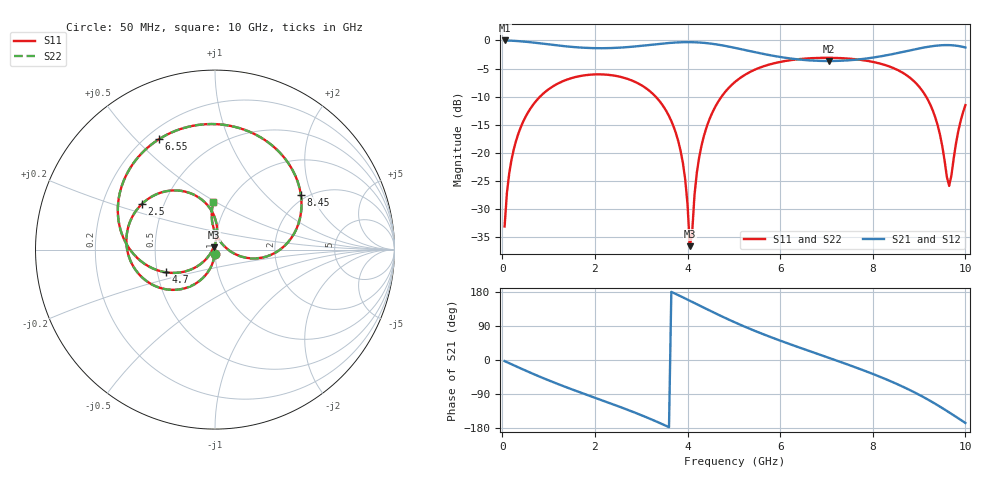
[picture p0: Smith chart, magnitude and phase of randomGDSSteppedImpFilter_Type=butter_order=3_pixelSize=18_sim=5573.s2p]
! freq	dB(S11)	phase(S11)	dB(S12)	phase(S12)
!  dB(S21)	phase(S21)	dB(S22)	phase(S22)
!S-par simulation data
#  GHz  S  DB  R 50
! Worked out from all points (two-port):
!   200 points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, 50 MHz to 10 GHz, reference 50 ohm
!   highest |S21| = -0.01 dB at 50 MHz (marker M1); lowest = -3.7 dB at 7.05 GHz (marker M2)
!   |S21| within 3 dB of the highest: start of sweep to 6.049 GHz; 8.039 GHz to end of sweep
!   lowest |S11| = -36.6 dB at 4.05 GHz (marker M3), VSWR 1.03, Z = 49.2 + j1.23 ohm
!   |S11| at or under -10 dB: start of sweep to 814.5 MHz; 3.312 GHz to 4.734 GHz (1.422 GHz wide, 35.3 % of centre); 9.152 GHz to end of sweep
!   |S22| runs from -36.5 to -3.1 dB; largest |S21 - S12| = 0
!   S11 on the Smith chart (normalised r, x): 50 MHz: 1.00, -0.04; 2.5 GHz: 0.38, +0.25; 4.7 GHz: 0.55, -0.15; 6.55 GHz: 0.25, +0.59; 8.45 GHz: 1.86, +1.67; 10 GHz: 0.85, +0.49
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0.05  -33.05 -92.9  -0.01 -2.9  -0.01 -2.9  -33.05 -92.9
0.2  -21.16 -101.7  -0.05 -11.3  -0.05 -11.3  -21.16 -101.7
0.5  -13.61 -118.3  -0.23 -27.8  -0.23 -27.8  -13.61 -118.3
1.1  -8.13 -149.1  -0.80 -58.5  -0.80 -58.5  -8.13 -149.1
1.75  -6.23 -179.0  -1.30 -88.6  -1.30 -88.6  -6.23 -179.0
2.5  -6.38 147.9  -1.30 -121.9  -1.30 -121.9  -6.38 147.9
3.4  -10.83 104.7  -0.61 -166.2  -0.61 -166.2  -10.83 104.8
3.85  -19.61 83.2  -0.33 168.3  -0.33 168.3  -19.60 83.4
3.95  -24.71 82.3  -0.31 162.4  -0.31 162.4  -24.71 82.5
4.05  -36.56 122.5  -0.31 156.4  -0.31 156.4  -36.46 122.9
4.3  -18.76 -135.0  -0.40 141.3  -0.40 141.3  -18.75 -135.1
4.7  -10.41 -155.2  -0.81 117.5  -0.81 117.5  -10.40 -155.2
5.05  -7.21 -173.9  -1.37 97.8  -1.37 97.8  -7.21 -174.0
5.75  -4.32 151.8  -2.58 62.6  -2.58 62.6  -4.32 151.8
6.55  -3.22 116.9  -3.50 27.1  -3.50 27.1  -3.22 116.9
6.7  -3.15 110.6  -3.58 20.7  -3.58 20.7  -3.15 110.6
7.05  -3.09 95.9  -3.66 5.8  -3.66 5.8  -3.09 95.9
8.35  -4.61 37.5  -2.56 -54.2  -2.56 -54.2  -4.61 37.5
8.45  -4.93 32.5  -2.39 -59.4  -2.39 -59.4  -4.93 32.4
9.25  -11.55 -9.8  -1.06 -108.5  -1.06 -108.5  -11.56 -9.9
9.65  -25.84 42.1  -0.83 -138.3  -0.83 -138.3  -25.95 42.2
10  -11.49 91.8  -1.26 -166.1  -1.26 -166.1  -11.50 92.0
